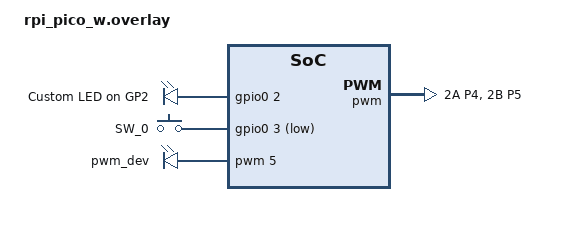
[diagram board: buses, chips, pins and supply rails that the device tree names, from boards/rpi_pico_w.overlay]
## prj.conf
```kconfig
# Logging, minimum without colors
CONFIG_LOG=y
CONFIG_LOG_MODE_MINIMAL=y

# PWM driver 
CONFIG_PWM=y
CONFIG_PWM_RPI_PICO=y
```

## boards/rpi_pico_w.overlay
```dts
#include <zephyr/dt-bindings/input/input-event-codes.h>

/ {
    aliases {
        led0 = &my_custom_led;
    };

    leds {
        compatible = "gpio-leds";

        my_custom_led: led_2 {
            /* Map to GP2 on the RP2040 (gpio0 is the main GPIO controller) */
            gpios = <&gpio0 2 GPIO_ACTIVE_HIGH>;
            label = "Custom LED on GP2";
        };
    };

    gpio_keys {
		compatible = "gpio-keys";

		user_btn: button_0 {
			label = "SW_0";
			gpios = <&gpio0 3 (GPIO_PULL_UP | GPIO_ACTIVE_LOW)>;
			zephyr,code = <INPUT_KEY_0>;
		};
	};

    pwm_outputs {
		compatible = "pwm-leds";

        pwm_dev: pwm_dev {
			pwms = <&pwm 4 PWM_MSEC(20) PWM_POLARITY_NORMAL>;
            pwms = <&pwm 5 PWM_MSEC(20) PWM_POLARITY_NORMAL>;
		};
	};
};

/* All GPIO pins on the RP2040 (GP0 to GP29) have PWM output capability,
 * controlled by 8 hardware slices (0 to 7), divided into A (even pins) and
 * B (odd pins) outputs. */
&pinctrl {
	pwm_slice_2_default: pwm_slice_2_default {
		group1 {
			pinmux = <PWM_2A_P4>, <PWM_2B_P5>;
		};
	};
};

&pwm {
	status = "okay";
	pinctrl-0 = <&pwm_slice_2_default>;
	pinctrl-names = "default";
};
```

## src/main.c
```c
/**
 * @file main.c
 * @brief Zephyr application demonstrating basic PWM output.
 *
 * This file contains the main application logic for initializing a PWM device
 * and setting it to a 50% duty cycle using a predefined period.
 */

#include <zephyr/drivers/pwm.h>
#include <zephyr/kernel.h>
#include <zephyr/logging/log.h>

LOG_MODULE_REGISTER(main, LOG_LEVEL_INF);

/**
 * @def PWM_CHANNEL
 * @brief The PWM channel number to use for the output. Check pwm_dev device to match channels.
 */
#define PWM_CHANNEL_4   4
#define PWM_CHANNEL_5   5

/**
 * @def PWM_PERIOD_NS
 * @brief The total period of the PWM signal in nanoseconds (1 millisecond).
 */
#define PWM_PERIOD_NS (1 * NSEC_PER_MSEC)

/**
 * @brief PWM devicetree specification.
 *
 * Obtains the PWM device, channel, and period specifications from the 
 * devicetree node labeled `pwm_led0`.
 */
static const struct pwm_dt_spec pwm_channel = PWM_DT_SPEC_GET(DT_NODELABEL(pwm_dev));

/**
 * @brief Main application entry point.
 *
 * This function verifies that the PWM device is ready for use. If it is ready,
 * it configures the specified PWM channel with a 50% duty cycle (half of the 
 * total period) and normal polarity. Upon successful configuration, it logs 
 * a status message and suspends the main thread indefinitely.
 *
 * @return 0 on success, or a negative error code if the PWM configuration fails.
 */
int main(void)
{
	int ret;

	if (!device_is_ready(pwm_channel.dev)) {
		LOG_ERR("PWM device is not ready\n");
		return 0;
	}

	ret = pwm_set(pwm_channel.dev, PWM_CHANNEL_4, PWM_PERIOD_NS, PWM_PERIOD_NS / 2, PWM_POLARITY_NORMAL);
	if (ret < 0) {
		LOG_ERR("Failed to set pwm (%d)\n", ret);
		return ret;
	}

	ret = pwm_set(pwm_channel.dev, PWM_CHANNEL_5, PWM_PERIOD_NS, PWM_PERIOD_NS / 2, PWM_POLARITY_INVERTED);
	if (ret < 0) {
		LOG_ERR("Failed to set pwm (%d)\n", ret);
		return ret;
	}
	
	LOG_INF("PWM sample started, T = %d ns", PWM_PERIOD_NS);

	k_sleep(K_FOREVER);

	return 0;
}
```
